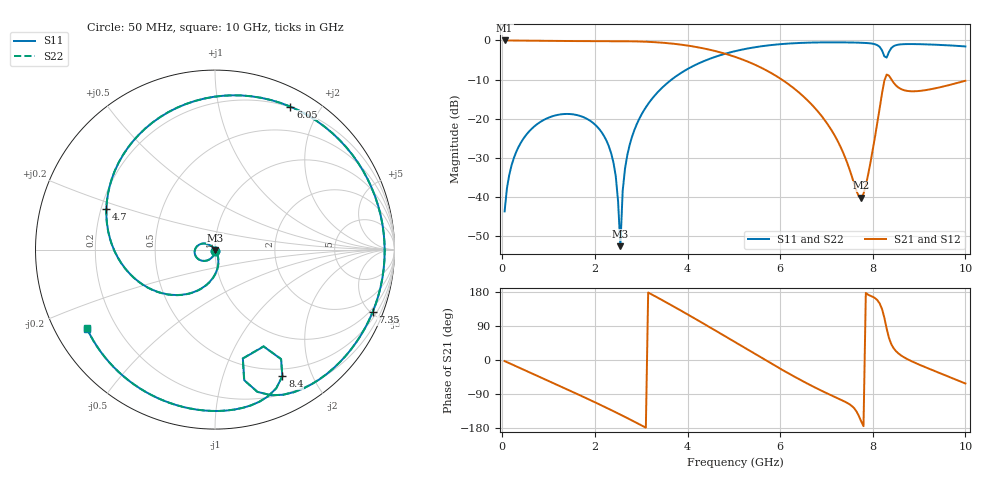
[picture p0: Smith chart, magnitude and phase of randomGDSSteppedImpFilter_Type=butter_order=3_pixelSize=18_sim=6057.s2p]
! freq	dB(S11)	phase(S11)	dB(S12)	phase(S12)
!  dB(S21)	phase(S21)	dB(S22)	phase(S22)
!S-par simulation data
#  GHz  S  DB  R 50
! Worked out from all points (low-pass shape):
!   200 points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, 50 MHz to 10 GHz, reference 50 ohm
!   highest |S21| = -0.01 dB at 50 MHz (marker M1); lowest = -40.2 dB at 7.75 GHz (marker M2)
!   |S21| within 3 dB of the highest: start of sweep to 4.693 GHz
!   lowest |S11| = -52.6 dB at 2.55 GHz (marker M3), VSWR 1.00, Z = 50 - j0.23 ohm
!   |S11| at or under -10 dB: start of sweep to 3.657 GHz
!   |S22| runs from -54.0 to -0.5 dB; largest |S21 - S12| = 0
!   S11 on the Smith chart (normalised r, x): 50 MHz: 1.00, -0.01; 4.7 GHz: 0.22, +0.17; 6.05 GHz: 0.20, +1.64; 7.35 GHz: 0.78, -5.10; 8.4 GHz: 0.41, -1.59; 10 GHz: 0.09, -0.28
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0.05  -43.72 -91.1  -0.01 -2.8  -0.01 -2.8  -43.72 -91.1
0.2  -31.94 -100.6  -0.02 -11.2  -0.02 -11.2  -31.94 -100.6
0.55  -23.65 -120.9  -0.06 -30.5  -0.06 -30.5  -23.66 -120.9
1.75  -19.61 172.2  -0.16 -97.2  -0.16 -97.2  -19.61 171.9
2.35  -28.82 138.7  -0.17 -132.0  -0.17 -132.0  -28.83 137.3
2.45  -34.72 134.7  -0.17 -138.0  -0.17 -138.0  -34.75 131.7
2.55  -52.61 -100.3  -0.18 -144.1  -0.18 -144.1  -54.02 -76.7
2.6  -38.42 -64.7  -0.19 -147.1  -0.19 -147.1  -38.45 -59.5
2.75  -26.72 -69.2  -0.21 -156.4  -0.21 -156.4  -26.72 -67.8
3.4  -12.69 -109.9  -0.53 161.6  -0.53 161.6  -12.69 -109.5
4.05  -6.99 -154.2  -1.40 117.0  -1.40 117.0  -6.99 -154.1
4.7  -3.80 159.6  -3.03 70.7  -3.03 70.7  -3.80 159.7
5.05  -2.68 134.3  -4.30 45.4  -4.30 45.4  -2.68 134.4
6.05  -0.91 62.2  -10.12 -26.3  -10.12 -26.3  -0.91 62.3
6.7  -0.54 18.2  -16.63 -69.3  -16.63 -69.3  -0.54 18.3
7.35  -0.49 -21.7  -28.41 -107.1  -28.41 -107.1  -0.49 -21.7
7.75  -0.59 -45.1  -40.24 -161.8  -40.24 -161.8  -0.59 -45.1
8.2  -2.54 -77.4  -13.51 134.5  -13.51 134.5  -2.55 -77.4
8.35  -2.94 -58.9  -9.01 58.1  -9.01 58.1  -2.95 -58.9
8.4  -1.95 -62.0  -9.93 41.8  -9.93 41.8  -1.95 -62.0
9  -0.95 -98.9  -12.92 -12.1  -12.92 -12.1  -0.95 -98.9
10  -1.53 -148.3  -10.30 -62.0  -10.30 -62.0  -1.53 -148.4
